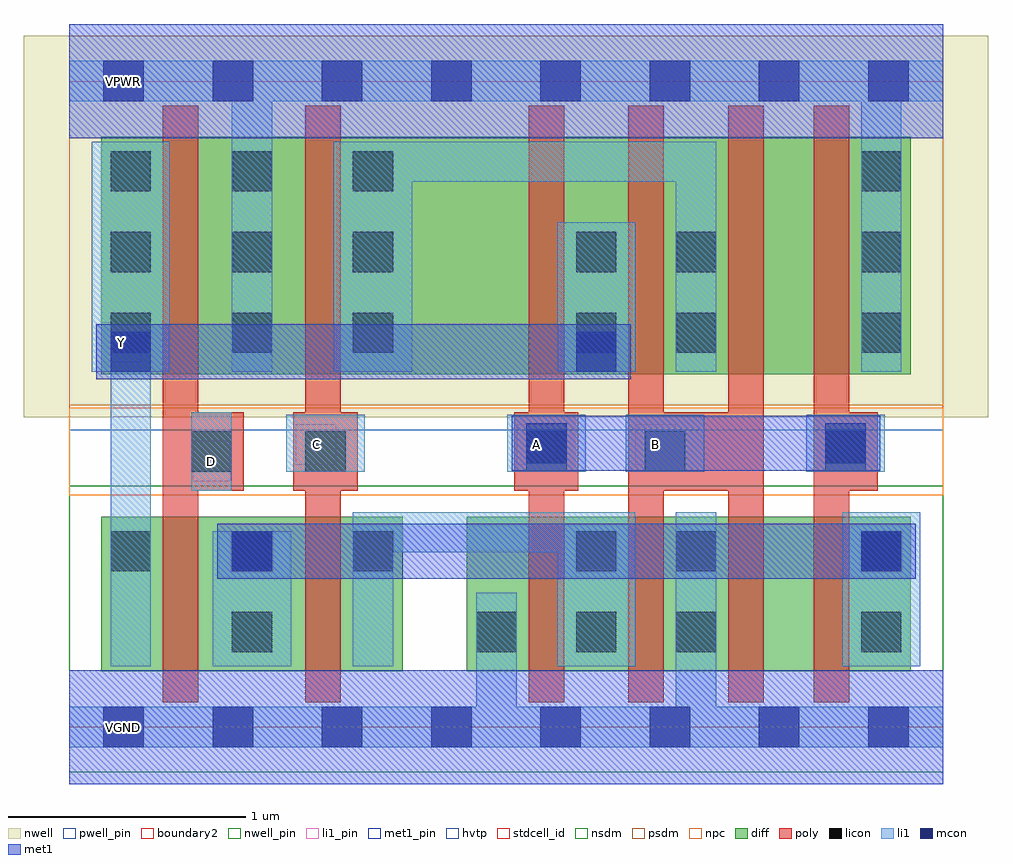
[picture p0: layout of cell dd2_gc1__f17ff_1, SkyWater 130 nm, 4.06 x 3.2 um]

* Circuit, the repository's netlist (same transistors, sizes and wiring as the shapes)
.subckt dd2_gc1__f17ff_1 A B C D VGND VNB VPB VPWR Y
X0 Y D n1 VNB sky130_fd_pr__nfet_01v8 w=0.65 l=0.15
X1 n1 A n2 VNB sky130_fd_pr__nfet_01v8 w=0.65 l=0.15
X2 n2 B VGND VNB sky130_fd_pr__nfet_01v8 w=0.65 l=0.15
X3 n1 C n3 VNB sky130_fd_pr__nfet_01v8 w=0.65 l=0.15
X4 n3 A VGND VNB sky130_fd_pr__nfet_01v8 w=0.65 l=0.15
X5 n3 B VGND VNB sky130_fd_pr__nfet_01v8 w=0.65 l=0.15
X6 Y D VPWR VPB sky130_fd_pr__pfet_01v8_hvt w=1 l=0.15
X7 Y A p1 VPB sky130_fd_pr__pfet_01v8_hvt w=1 l=0.15
X8 Y B p1 VPB sky130_fd_pr__pfet_01v8_hvt w=1 l=0.15
X9 p1 C VPWR VPB sky130_fd_pr__pfet_01v8_hvt w=1 l=0.15
X10 p1 B p2 VPB sky130_fd_pr__pfet_01v8_hvt w=1 l=0.15
X11 p2 A VPWR VPB sky130_fd_pr__pfet_01v8_hvt w=1 l=0.15
.ends

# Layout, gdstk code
import gdstk
lib = gdstk.Library(unit=1e-6, precision=1e-09)
def R(c, l, rs):  # rectangles x0, y0, x1, y1
    for r in rs: c.add(gdstk.rectangle(r[:2], r[2:], *l))
def A(c, l, x, y, w, h, nx, ny, dx, dy):  # array of equal rectangles
    R(c, l, [(x+i*dx, y+j*dy, x+i*dx+w, y+j*dy+h) for i in range(nx) for j in range(ny)])
nwell_pin = (64, 16)
nwell = (64, 20)
diff = (65, 20)
poly = (66, 20)
licon = (66, 44)
li1_pin = (67, 16)
li1 = (67, 20)
mcon = (67, 44)
met1_pin = (68, 16)
met1 = (68, 20)
hvtp = (78, 44)
stdcell_id = (81, 4)
nsdm = (93, 44)
psdm = (94, 20)
npc = (95, 20)
pwell_pin = (122, 16)
boundary2 = (236, 0)

dd2_gc1__f17ff_1 = lib.new_cell('dd2_gc1__f17ff_1')
R(dd2_gc1__f17ff_1, nwell_pin, [(0.145,2.635,0.315,2.805)])
R(dd2_gc1__f17ff_1, nwell, [(-0.19,1.305,3.87,2.91)])
R(dd2_gc1__f17ff_1, diff, [(0.135,0.235,1.405,0.885), (1.675,0.235,3.545,0.885), (0.135,1.485,3.545,2.485)])
A(dd2_gc1__f17ff_1, poly, 1.935, 0.105, 0.15, 2.51, 3, 1, 0.42, 0)
R(dd2_gc1__f17ff_1, poly, [(0.395,0.105,0.545,2.615), (0.995,0.105,1.145,2.615), (3.135,0.105,3.285,2.615), (0.395,0.995,0.735,1.325), (0.945,0.995,1.215,1.325), (1.875,0.995,2.145,1.325), (2.355,0.995,2.925,1.325), (3.135,0.995,3.405,1.325)])
A(dd2_gc1__f17ff_1, licon, 1.715, 0.315, 0.17, 0.17, 3, 1, 0.42, 0)
A(dd2_gc1__f17ff_1, licon, 0.175, 0.655, 0.17, 0.17, 3, 2, 0.51, 0.92)
A(dd2_gc1__f17ff_1, licon, 3.335, 1.575, 0.17, 0.17, 1, 3, 0, 0.34)
A(dd2_gc1__f17ff_1, licon, 0.175, 1.915, 0.17, 0.17, 3, 2, 0.51, 0.34)
R(dd2_gc1__f17ff_1, licon, [(0.685,0.315,0.855,0.485), (3.335,0.315,3.505,0.485), (2.135,0.655,2.305,0.825), (2.555,0.655,2.725,0.825), (3.335,0.655,3.505,0.825), (0.515,1.075,0.685,1.245), (0.995,1.075,1.165,1.245), (1.925,1.075,2.095,1.245), (2.425,1.075,2.595,1.245), (3.185,1.075,3.355,1.245), (2.135,1.575,2.305,1.745), (2.555,1.575,2.725,1.745), (2.135,1.915,2.305,2.085), (2.555,1.915,2.725,2.085)])
R(dd2_gc1__f17ff_1, li1_pin, [(0.52,1.035,0.68,1.205), (0.955,1.105,1.125,1.275), (1.885,1.105,2.055,1.275), (2.385,1.105,2.555,1.275), (0.135,1.535,0.305,1.705)])
R(dd2_gc1__f17ff_1, li1, [(0,-0.085,3.68,0.085), (1.715,-0.085,1.885,0.565), (2.555,-0.085,2.725,0.905), (0.175,0.255,0.345,0.905), (0.605,0.255,0.935,0.825), (1.195,0.255,1.365,0.905), (2.055,0.255,2.385,0.905), (3.255,0.255,3.585,0.905), (1.195,0.735,2.385,0.905), (0.175,0.895,0.345,1.505), (0.515,0.995,0.685,1.325), (0.915,1.075,1.245,1.315), (1.845,1.075,2.175,1.315), (2.345,1.075,2.675,1.315), (3.105,1.075,3.435,1.315), (0.095,1.495,0.425,2.465), (0.685,1.495,0.855,2.805), (1.115,1.495,1.445,2.465), (2.055,1.495,2.385,2.125), (2.555,1.495,2.725,2.465), (3.335,1.495,3.505,2.805), (1.115,2.295,2.725,2.465), (0,2.635,3.68,2.805)])
A(dd2_gc1__f17ff_1, mcon, 0.145, -0.085, 0.17, 0.17, 8, 2, 0.46, 2.72)
R(dd2_gc1__f17ff_1, mcon, [(0.685,0.655,0.855,0.825), (3.335,0.655,3.505,0.825), (1.925,1.11,2.095,1.28), (3.185,1.11,3.355,1.28), (0.175,1.495,0.345,1.665), (2.135,1.495,2.305,1.665)])
R(dd2_gc1__f17ff_1, met1_pin, [(0.145,-0.085,0.315,0.085), (0.145,2.635,0.315,2.805)])
R(dd2_gc1__f17ff_1, met1, [(0,-0.24,3.68,0.24), (0.625,0.625,3.565,0.855), (1.865,1.08,3.415,1.31), (0.115,1.465,2.365,1.695), (0,2.48,3.68,2.96)])
R(dd2_gc1__f17ff_1, hvtp, [(0,1.25,3.68,2.72)])
R(dd2_gc1__f17ff_1, stdcell_id, [(0,0,3.68,2.72)])
R(dd2_gc1__f17ff_1, nsdm, [(0,-0.19,3.68,1.015)])
R(dd2_gc1__f17ff_1, psdm, [(0,1.355,3.68,2.91)])
R(dd2_gc1__f17ff_1, npc, [(0,0.975,3.68,1.345)])
R(dd2_gc1__f17ff_1, pwell_pin, [(0.145,-0.085,0.315,0.085)])
R(dd2_gc1__f17ff_1, boundary2, [(0,0,3.68,2.72)])
dd2_gc1__f17ff_1.add(gdstk.Label('D', (0.6,1.12), layer=67, texttype=5))
dd2_gc1__f17ff_1.add(gdstk.Label('C', (1.04,1.19), layer=67, texttype=5))
dd2_gc1__f17ff_1.add(gdstk.Label('A', (1.97,1.19), layer=67, texttype=5))
dd2_gc1__f17ff_1.add(gdstk.Label('B', (2.47,1.19), layer=67, texttype=5))
dd2_gc1__f17ff_1.add(gdstk.Label('Y', (0.22,1.62), layer=67, texttype=5))
dd2_gc1__f17ff_1.add(gdstk.Label('VGND', (0.23,0), layer=68, texttype=5))
dd2_gc1__f17ff_1.add(gdstk.Label('VPWR', (0.23,2.72), layer=68, texttype=5))
dd2_gc1__f17ff_1.add(gdstk.Label('VPB', (0.23,2.72), layer=64, texttype=5))
dd2_gc1__f17ff_1.add(gdstk.Label('VNB', (0.23,0), layer=64, texttype=59))

lib.write_gds('dd2_gc1__f17ff_1.gds')
